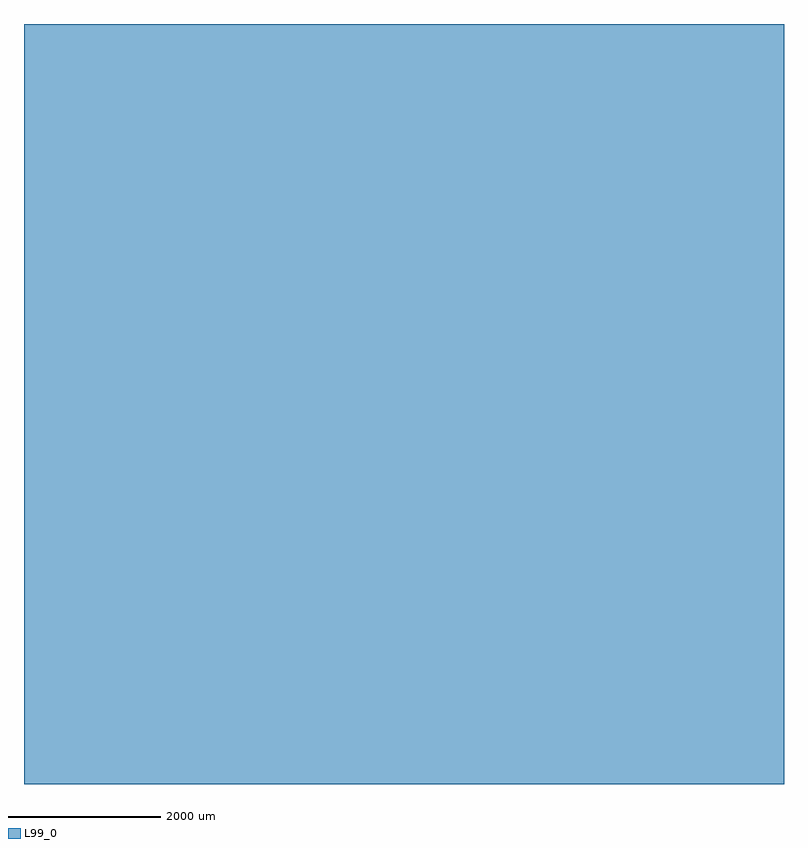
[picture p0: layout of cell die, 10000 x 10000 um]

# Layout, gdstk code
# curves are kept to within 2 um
import gdstk
lib = gdstk.Library(unit=1e-6, precision=1e-09)
def R(c, l, rs):  # rectangles x0, y0, x1, y1
    for r in rs: c.add(gdstk.rectangle(r[:2], r[2:], *l))
def P(c, l, *ps):  # polygons
    for p in ps: c.add(gdstk.Polygon(p, *l))
L99_0 = (99, 0)

chip99_0_00 = lib.new_cell('chip99_0_00')
P(chip99_0_00, L99_0, [(80,20),(60,0),(30,0),(10,20),(10,50),(30,70),(60,70),(80,50),(80,40),(60,40),(50,50),(40,50),(30,40),(30,30),(40,20),(50,20),(60,30),(80,30)],
  [(140,0),(140,40),(130,50),(120,50),(110,40),(110,0),(90,0),(90,110),(110,110),(110,60),(120,70),(140,70),(160,50),(160,0)],
  [(170,0),(170,60),(190,60),(190,0),(170,0)],
  [(190,100),(190,80),(170,80),(170,100),(190,100)],
  [(200,70),(250,70),(270,50),(270,20),(250,0),(220,0),(220,-30),(200,-30),(200,30),(220,30),(220,20),(240,20),(250,30),(250,40),(240,50),(220,50),(220,40),(200,40)],
  [(280,30),(300,30),(300,20),(330,20),(330,40),(290,40),(280,50),(280,90),(290,100),(310,100),(310,80),(300,80),(300,60),(330,60),(330,80),(320,80),(320,100),(340,100),(350,90),(350,10),(340,0),(290,0),(280,10)],
  [(360,30),(380,30),(380,20),(410,20),(410,40),(370,40),(360,50),(360,90),(370,100),(390,100),(390,80),(380,80),(380,60),(410,60),(410,80),(400,80),(400,100),(420,100),(430,90),(430,10),(420,0),(370,0),(360,10)])

chip99_0_0 = lib.new_cell('chip99_0_0')
chip99_0_0.add(gdstk.Reference(chip99_0_00, (0,0)))

die = lib.new_cell('die')
R(die, L99_0, [(-5000,-5000,5000,5000)])
die.add(gdstk.Reference(chip99_0_0, (-4890,-4850)))

lib.write_gds('die.gds')
